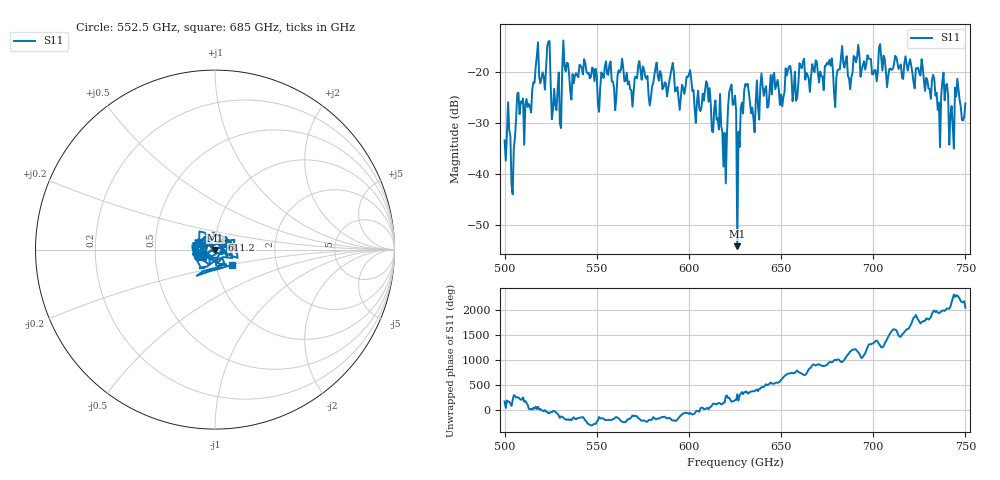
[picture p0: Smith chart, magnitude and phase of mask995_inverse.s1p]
!Created with skrf (http://scikit-rf.org).
# GHz S MA R 50.0
!freq magS11 angS11
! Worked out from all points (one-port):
!   401 points, 500 GHz to 750 GHz, reference 50 ohm
!   lowest |S11| = -54.2 dB at 626.2 GHz (marker M1), VSWR 1.00, Z = 50.1 - j0.133 ohm
!   |S11| at or under -10 dB: start of sweep to end of sweep
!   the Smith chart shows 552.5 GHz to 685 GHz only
!   S11 on the Smith chart (normalised r, x): 552.5 GHz: 0.83, -0.06; 611.2 GHz: 1.08, +0.12; 685 GHz: 1.19, -0.20
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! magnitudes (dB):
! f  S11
! 500 GHz  -33.5
! 504.4 GHz  -44.0
! 507.5 GHz  -24.1
! 511.9 GHz  -25.4
! 516.9 GHz  -19.1
! 523.8 GHz  -14.1
! 526.9 GHz  -23.4
! 531.2 GHz  -19.6
! 533.1 GHz  -19.9
! 552.5 GHz  -20.2
! 562.5 GHz  -20.1
! 593.8 GHz  -23.0
! 611.2 GHz  -23.2
! 619.4 GHz  -32.0
! 623.8 GHz  -26.5
! 625 GHz  -24.7
! 626.2 GHz  -54.2
! 631.2 GHz  -22.8
! 635 GHz  -29.2
! 656.2 GHz  -25.8
! 685 GHz  -17.9
! 687.5 GHz  -23.5
! 718.8 GHz  -19.8
! 735 GHz  -27.5
! 738.8 GHz  -25.6
! 742.5 GHz  -26.7
! 745.6 GHz  -21.4
! 750 GHz  -26.2
